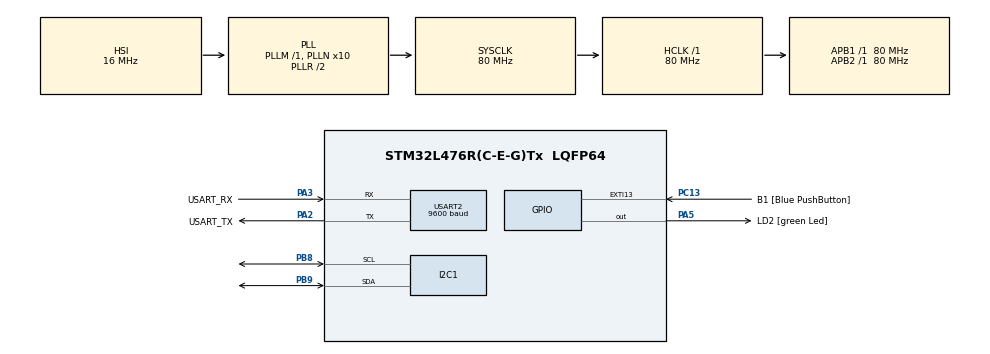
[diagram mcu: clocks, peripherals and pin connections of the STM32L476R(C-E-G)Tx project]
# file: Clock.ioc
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Mcu.Family=STM32L4
Mcu.Name=STM32L476R(C-E-G)Tx
Mcu.Package=LQFP64
NVIC.EXTI15_10_IRQn=true\:0\:0\:false\:false\:true\:true
NVIC.PriorityGroup=NVIC_PRIORITYGROUP_4
NVIC.USART2_IRQn=true\:0\:0\:false\:false\:true\:true
PA13\ (JTMS-SWDIO).GPIO_Label=TMS
PA13\ (JTMS-SWDIO).Mode=Serial_Wire
PA13\ (JTMS-SWDIO).Signal=SYS_JTMS-SWDIO
PA14\ (JTCK-SWCLK).GPIO_Label=TCK
PA14\ (JTCK-SWCLK).Mode=Serial_Wire
PA14\ (JTCK-SWCLK).Signal=SYS_JTCK-SWCLK
PA2.GPIO_Label=USART_TX
PA2.GPIO_Mode=GPIO_MODE_AF_PP
PA2.GPIO_PuPd=GPIO_NOPULL
PA2.GPIO_Speed=GPIO_SPEED_FREQ_VERY_HIGH
PA2.Mode=Asynchronous
PA2.Signal=USART2_TX
PA3.GPIO_Label=USART_RX
PA3.GPIO_Mode=GPIO_MODE_AF_PP
PA3.GPIO_PuPd=GPIO_NOPULL
PA3.GPIO_Speed=GPIO_SPEED_FREQ_VERY_HIGH
PA3.Mode=Asynchronous
PA3.Signal=USART2_RX
PA5.GPIO_Label=LD2 [green Led]
PA5.GPIO_ModeDefaultOutputPP=GPIO_MODE_OUTPUT_PP
PA5.GPIO_PuPd=GPIO_NOPULL
PA5.GPIO_Speed=GPIO_SPEED_FREQ_LOW
PA5.Signal=GPIO_Output
PB3\ (JTDO-TRACESWO).GPIO_Label=SWO
PB3\ (JTDO-TRACESWO).Signal=SYS_JTDO-SWO
PB8.Mode=I2C
PB8.Signal=I2C1_SCL
PB9.Mode=I2C
PB9.Signal=I2C1_SDA
PC13.GPIO_Label=B1 [Blue PushButton]
PC13.GPIO_ModeDefaultEXTI=GPIO_MODE_IT_FALLING
PC13.GPIO_PuPd=GPIO_NOPULL
PC13.Signal=GPXTI13
PC14-OSC32_IN\ (PC14).Mode=LSE-External-Oscillator
PC14-OSC32_IN\ (PC14).Signal=RCC_OSC32_IN
PC15-OSC32_OUT\ (PC15).Mode=LSE-External-Oscillator
PC15-OSC32_OUT\ (PC15).Signal=RCC_OSC32_OUT
PH0-OSC_IN\ (PH0).Signal=RCC_OSC_IN
PH1-OSC_OUT\ (PH1).Signal=RCC_OSC_OUT
ProjectManager.HeapSize=0x200
ProjectManager.StackSize=0x400
ProjectManager.TargetToolchain=TrueSTUDIO
RCC.ADCFreq_Value=64000000
RCC.AHBFreq_Value=80000000
RCC.APB1Freq_Value=80000000
RCC.APB1TimFreq_Value=80000000
RCC.APB2Freq_Value=80000000
RCC.APB2TimFreq_Value=80000000
RCC.CortexFreq_Value=80000000
RCC.HCLKFreq_Value=80000000
RCC.HSE_VALUE=8000000
RCC.HSI_VALUE=16000000
RCC.MSI_VALUE=4000000
RCC.PLLN=10
RCC.PLLSourceVirtual=RCC_PLLSOURCE_HSI
RCC.PREFETCH_ENABLE=1
RCC.SYSCLKFreq_VALUE=80000000
RCC.SYSCLKSource=RCC_SYSCLKSOURCE_PLLCLK
RCC.USBFreq_Value=64000000
RCC.VCOOutputFreq_Value=160000000
USART2.BaudRate=9600
USART2.VirtualMode-Asynchronous=VM_ASYNC
USART2.WordLength=WORDLENGTH_8B
VP_RTC_VS_RTC_Activate.Mode=RTC_Enabled
VP_RTC_VS_RTC_Calendar.Mode=RTC_Calendar
board=NUCLEO-L476RG

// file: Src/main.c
/**
  ******************************************************************************
  * @file           : main.c
  * @brief          : Main program body
  ******************************************************************************
  ** This notice applies to any and all portions of this file
  * that are not between comment pairs USER CODE BEGIN and
  * USER CODE END. Other portions of this file, whether
  * inserted by the user or by software development tools
  * are owned by their respective copyright owners.
  *
  * COPYRIGHT(c) 2018 STMicroelectronics
  *
  * Redistribution and use in source and binary forms, with or without modification,
  * are permitted provided that the following conditions are met:
  *   1. Redistributions of source code must retain the above copyright notice,
  *      this list of conditions and the following disclaimer.
  *   2. Redistributions in binary form must reproduce the above copyright notice,
  *      this list of conditions and the following disclaimer in the documentation
  *      and/or other materials provided with the distribution.
  *   3. Neither the name of STMicroelectronics nor the names of its contributors
  *      may be used to endorse or promote products derived from this software
  *      without specific prior written permission.
  *
  * THIS SOFTWARE IS PROVIDED BY THE COPYRIGHT HOLDERS AND CONTRIBUTORS "AS IS"
  * AND ANY EXPRESS OR IMPLIED WARRANTIES, INCLUDING, BUT NOT LIMITED TO, THE
  * IMPLIED WARRANTIES OF MERCHANTABILITY AND FITNESS FOR A PARTICULAR PURPOSE ARE
  * DISCLAIMED. IN NO EVENT SHALL THE COPYRIGHT HOLDER OR CONTRIBUTORS BE LIABLE
  * FOR ANY DIRECT, INDIRECT, INCIDENTAL, SPECIAL, EXEMPLARY, OR CONSEQUENTIAL
  * DAMAGES (INCLUDING, BUT NOT LIMITED TO, PROCUREMENT OF SUBSTITUTE GOODS OR
  * SERVICES; LOSS OF USE, DATA, OR PROFITS; OR BUSINESS INTERRUPTION) HOWEVER
  * CAUSED AND ON ANY THEORY OF LIABILITY, WHETHER IN CONTRACT, STRICT LIABILITY,
  * OR TORT (INCLUDING NEGLIGENCE OR OTHERWISE) ARISING IN ANY WAY OUT OF THE USE
  * OF THIS SOFTWARE, EVEN IF ADVISED OF THE POSSIBILITY OF SUCH DAMAGE.
  *
  ******************************************************************************
  */
#include "main.h"
#include "stm32l4xx_hal.h"

/* USER CODE BEGIN Includes */
#include <string.h>
#include <stdbool.h>
#include "lcd.h"

/* USER CODE END Includes */

I2C_HandleTypeDef hi2c1;

RTC_HandleTypeDef hrtc;

UART_HandleTypeDef huart2;

/* USER CODE BEGIN PV */
/* Private variables ---------------------------------------------------------*/
uint8_t rxbuf[1];

typedef struct {
  char date[10];
  char time[8];
  char weekday[3];
} current_datetime;

/* USER CODE END PV */

void SystemClock_Config(void);
static void MX_GPIO_Init(void);
static void MX_USART2_UART_Init(void);
static void MX_I2C1_Init(void);
static void MX_RTC_Init(void);

/* USER CODE BEGIN PFP */
/* Private function prototypes -----------------------------------------------*/

/* USER CODE END PFP */

/* USER CODE BEGIN 0 */

void get_current_datetime(current_datetime *dt, bool add_seconds) {
  RTC_DateTypeDef sDate;
  RTC_TimeTypeDef sTime;

  HAL_RTC_GetTime(&hrtc, &sTime, FORMAT_BIN);  // RTC Time
  HAL_RTC_GetDate(&hrtc, &sDate, FORMAT_BIN);  // RTC Date

  sprintf(dt->date, "20%02d/%02d/%02d", sDate.Year, sDate.Month, sDate.Date);
  if (add_seconds) {
    sprintf(dt->time, "%02d:%02d:%02d", sTime.Hours, sTime.Minutes,
        sTime.Seconds);
  } else {
    sprintf(dt->time, "%02d:%02d", sTime.Hours, sTime.Minutes);
  }

  switch (sDate.WeekDay) {
  case RTC_WEEKDAY_MONDAY:
    strcpy(dt->weekday, "MON");
    break;
  case RTC_WEEKDAY_TUESDAY:
    strcpy(dt->weekday, "TUE");
    break;
  case RTC_WEEKDAY_WEDNESDAY:
    strcpy(dt->weekday, "WED");
    break;
  case RTC_WEEKDAY_THURSDAY:
    strcpy(dt->weekday, "THU");
    break;
  case RTC_WEEKDAY_FRIDAY:
    strcpy(dt->weekday, "FRI");
    break;
  case RTC_WEEKDAY_SATURDAY:
    strcpy(dt->weekday, "SAT");
    break;
  case RTC_WEEKDAY_SUNDAY:
    strcpy(dt->weekday, "SUN");
    break;
  }
}

/* USER CODE END 0 */

int main(void)
{
  /* USER CODE BEGIN 1 */
  current_datetime cd;

  /* USER CODE END 1 */

  /* MCU Configuration----------------------------------------------------------*/

  /* Reset of all peripherals, Initializes the Flash interface and the Systick. */
  HAL_Init();

  /* Configure the system clock */
  SystemClock_Config();

  /* Initialize all configured peripherals */
  MX_GPIO_Init();
  MX_USART2_UART_Init();
  MX_I2C1_Init();
  MX_RTC_Init();
  /* USER CODE BEGIN 2 */
  HAL_UART_Receive_IT(&huart2, rxbuf, 1);

  lcd_init(&hi2c1);
  lcd_test();
  /* USER CODE END 2 */

  /* Infinite loop */
  /* USER CODE BEGIN WHILE */
  while (1) {
    get_current_datetime(&cd, false);
    lcd_clear();
    lcd_string((uint8_t *)cd.date, sizeof(cd.date));
    lcd_move_right();
    lcd_string((uint8_t *)cd.weekday, sizeof(cd.weekday));
    lcd_newline();
    lcd_string((uint8_t *)cd.time, sizeof(cd.time));
    HAL_GPIO_TogglePin(GPIOA, GPIO_PIN_5);  // LD2
    HAL_Delay(30000); // 30 sec

  /* USER CODE END WHILE */

  }

}

void SystemClock_Config(void)
{

  RCC_OscInitTypeDef RCC_OscInitStruct;
  RCC_ClkInitTypeDef RCC_ClkInitStruct;
  RCC_PeriphCLKInitTypeDef PeriphClkInit;

    /**Initializes the CPU, AHB and APB busses clocks
    */
  RCC_OscInitStruct.OscillatorType = RCC_OSCILLATORTYPE_HSI|RCC_OSCILLATORTYPE_LSI;
  RCC_OscInitStruct.HSIState = RCC_HSI_ON;
  RCC_OscInitStruct.HSICalibrationValue = 16;
  RCC_OscInitStruct.LSIState = RCC_LSI_ON;
  RCC_OscInitStruct.PLL.PLLState = RCC_PLL_ON;
  RCC_OscInitStruct.PLL.PLLSource = RCC_PLLSOURCE_HSI;
  RCC_OscInitStruct.PLL.PLLM = 1;
  RCC_OscInitStruct.PLL.PLLN = 10;
  RCC_OscInitStruct.PLL.PLLP = RCC_PLLP_DIV7;
  RCC_OscInitStruct.PLL.PLLQ = RCC_PLLQ_DIV2;
  RCC_OscInitStruct.PLL.PLLR = RCC_PLLR_DIV2;
  if (HAL_RCC_OscConfig(&RCC_OscInitStruct) != HAL_OK)
  {
    _Error_Handler(__FILE__, __LINE__);
  }

    /**Initializes the CPU, AHB and APB busses clocks
    */
  RCC_ClkInitStruct.ClockType = RCC_CLOCKTYPE_HCLK|RCC_CLOCKTYPE_SYSCLK
                              |RCC_CLOCKTYPE_PCLK1|RCC_CLOCKTYPE_PCLK2;
  RCC_ClkInitStruct.SYSCLKSource = RCC_SYSCLKSOURCE_PLLCLK;
  RCC_ClkInitStruct.AHBCLKDivider = RCC_SYSCLK_DIV1;
  RCC_ClkInitStruct.APB1CLKDivider = RCC_HCLK_DIV1;
  RCC_ClkInitStruct.APB2CLKDivider = RCC_HCLK_DIV1;

  if (HAL_RCC_ClockConfig(&RCC_ClkInitStruct, FLASH_LATENCY_4) != HAL_OK)
  {
    _Error_Handler(__FILE__, __LINE__);
  }

  PeriphClkInit.PeriphClockSelection = RCC_PERIPHCLK_RTC|RCC_PERIPHCLK_USART2
                              |RCC_PERIPHCLK_I2C1;
  PeriphClkInit.Usart2ClockSelection = RCC_USART2CLKSOURCE_PCLK1;
  PeriphClkInit.I2c1ClockSelection = RCC_I2C1CLKSOURCE_PCLK1;
  PeriphClkInit.RTCClockSelection = RCC_RTCCLKSOURCE_LSI;
  if (HAL_RCCEx_PeriphCLKConfig(&PeriphClkInit) != HAL_OK)
  {
    _Error_Handler(__FILE__, __LINE__);
  }

    /**Configure the main internal regulator output voltage
    */
  if (HAL_PWREx_ControlVoltageScaling(PWR_REGULATOR_VOLTAGE_SCALE1) != HAL_OK)
  {
    _Error_Handler(__FILE__, __LINE__);
  }

    /**Configure the Systick interrupt time
    */
  HAL_SYSTICK_Config(HAL_RCC_GetHCLKFreq()/1000);

    /**Configure the Systick
    */
  HAL_SYSTICK_CLKSourceConfig(SYSTICK_CLKSOURCE_HCLK);

  /* SysTick_IRQn interrupt configuration */
  HAL_NVIC_SetPriority(SysTick_IRQn, 0, 0);
}

/* I2C1 init function */
static void MX_I2C1_Init(void)
{

  hi2c1.Instance = I2C1;
  hi2c1.Init.Timing = 0x10909CEC;
  hi2c1.Init.OwnAddress1 = 0;
  hi2c1.Init.AddressingMode = I2C_ADDRESSINGMODE_7BIT;
  hi2c1.Init.DualAddressMode = I2C_DUALADDRESS_DISABLE;
  hi2c1.Init.OwnAddress2 = 0;
  hi2c1.Init.OwnAddress2Masks = I2C_OA2_NOMASK;
  hi2c1.Init.GeneralCallMode = I2C_GENERALCALL_DISABLE;
  hi2c1.Init.NoStretchMode = I2C_NOSTRETCH_DISABLE;
  if (HAL_I2C_Init(&hi2c1) != HAL_OK)
  {
    _Error_Handler(__FILE__, __LINE__);
  }

    /**Configure Analogue filter
    */
  if (HAL_I2CEx_ConfigAnalogFilter(&hi2c1, I2C_ANALOGFILTER_ENABLE) != HAL_OK)
  {
    _Error_Handler(__FILE__, __LINE__);
  }

    /**Configure Digital filter
    */
  if (HAL_I2CEx_ConfigDigitalFilter(&hi2c1, 0) != HAL_OK)
  {
    _Error_Handler(__FILE__, __LINE__);
  }

}

/* RTC init function */
static void MX_RTC_Init(void)
{

  RTC_TimeTypeDef sTime;
  RTC_DateTypeDef sDate;

    /**Initialize RTC Only
    */
  hrtc.Instance = RTC;
if(HAL_RTCEx_BKUPRead(&hrtc, RTC_BKP_DR0) != 0x32F2){
  hrtc.Init.HourFormat = RTC_HOURFORMAT_24;
  hrtc.Init.AsynchPrediv = 127;
  hrtc.Init.SynchPrediv = 255;
  hrtc.Init.OutPut = RTC_OUTPUT_DISABLE;
  hrtc.Init.OutPutRemap = RTC_OUTPUT_REMAP_NONE;
  hrtc.Init.OutPutPolarity = RTC_OUTPUT_POLARITY_HIGH;
  hrtc.Init.OutPutType = RTC_OUTPUT_TYPE_OPENDRAIN;
  if (HAL_RTC_Init(&hrtc) != HAL_OK)
  {
    _Error_Handler(__FILE__, __LINE__);
  }

    /**Initialize RTC and set the Time and Date
    */
  sTime.Hours = 0x0;
  sTime.Minutes = 0x0;
  sTime.Seconds = 0x0;
  sTime.DayLightSaving = RTC_DAYLIGHTSAVING_NONE;
  sTime.StoreOperation = RTC_STOREOPERATION_RESET;
  if (HAL_RTC_SetTime(&hrtc, &sTime, RTC_FORMAT_BCD) != HAL_OK)
  {
    _Error_Handler(__FILE__, __LINE__);
  }

  sDate.WeekDay = RTC_WEEKDAY_MONDAY;
  sDate.Month = RTC_MONTH_JANUARY;
  sDate.Date = 0x1;
  sDate.Year = 0x0;

  if (HAL_RTC_SetDate(&hrtc, &sDate, RTC_FORMAT_BCD) != HAL_OK)
  {
    _Error_Handler(__FILE__, __LINE__);
  }

    HAL_RTCEx_BKUPWrite(&hrtc,RTC_BKP_DR0,0x32F2);
  }

}

/* USART2 init function */
static void MX_USART2_UART_Init(void)
{

  huart2.Instance = USART2;
  huart2.Init.BaudRate = 9600;
  huart2.Init.WordLength = UART_WORDLENGTH_8B;
  huart2.Init.StopBits = UART_STOPBITS_1;
  huart2.Init.Parity = UART_PARITY_NONE;
  huart2.Init.Mode = UART_MODE_TX_RX;
  huart2.Init.HwFlowCtl = UART_HWCONTROL_NONE;
  huart2.Init.OverSampling = UART_OVERSAMPLING_16;
  huart2.Init.OneBitSampling = UART_ONE_BIT_SAMPLE_DISABLE;
  huart2.AdvancedInit.AdvFeatureInit = UART_ADVFEATURE_NO_INIT;
  if (HAL_UART_Init(&huart2) != HAL_OK)
  {
    _Error_Handler(__FILE__, __LINE__);
  }

}

/** Configure pins as
        * Analog
        * Input
        * Output
        * EVENT_OUT
        * EXTI
*/
static void MX_GPIO_Init(void)
{

  GPIO_InitTypeDef GPIO_InitStruct;

  /* GPIO Ports Clock Enable */
  __HAL_RCC_GPIOC_CLK_ENABLE();
  __HAL_RCC_GPIOH_CLK_ENABLE();
  __HAL_RCC_GPIOA_CLK_ENABLE();
  __HAL_RCC_GPIOB_CLK_ENABLE();

  /*Configure GPIO pin Output Level */
  HAL_GPIO_WritePin(LD2_GPIO_Port, LD2_Pin, GPIO_PIN_RESET);

  /*Configure GPIO pin : B1_Pin */
  GPIO_InitStruct.Pin = B1_Pin;
  GPIO_InitStruct.Mode = GPIO_MODE_IT_FALLING;
  GPIO_InitStruct.Pull = GPIO_NOPULL;
  HAL_GPIO_Init(B1_GPIO_Port, &GPIO_InitStruct);

  /*Configure GPIO pin : LD2_Pin */
  GPIO_InitStruct.Pin = LD2_Pin;
  GPIO_InitStruct.Mode = GPIO_MODE_OUTPUT_PP;
  GPIO_InitStruct.Pull = GPIO_NOPULL;
  GPIO_InitStruct.Speed = GPIO_SPEED_FREQ_LOW;
  HAL_GPIO_Init(LD2_GPIO_Port, &GPIO_InitStruct);

  /* EXTI interrupt init*/
  HAL_NVIC_SetPriority(EXTI15_10_IRQn, 0, 0);
  HAL_NVIC_EnableIRQ(EXTI15_10_IRQn);

}

/* USER CODE BEGIN 4 */
void HAL_GPIO_EXTI_Callback(uint16_t GPIO_Pin) {

  current_datetime cd;

  char newline[] = { '\n' };

  if (GPIO_Pin == GPIO_PIN_13) {  // User button (blue tactile switch)
    HAL_GPIO_TogglePin(GPIOA, GPIO_PIN_5);  // LD2

    get_current_datetime(&cd, true);

    HAL_UART_Transmit(&huart2, (uint8_t *) cd.date, sizeof(cd.date), 100); // RTC date
    HAL_UART_Transmit(&huart2, (uint8_t *) newline, 1, 100);  // new line
    HAL_UART_Transmit(&huart2, (uint8_t *) cd.time, sizeof(cd.time), 100); // RTC time
    HAL_UART_Transmit(&huart2, (uint8_t *) newline, 1, 100);  // new line
    HAL_UART_Transmit(&huart2, (uint8_t *) cd.weekday, sizeof(cd.weekday), 100); // RTC weekday
    HAL_UART_Transmit(&huart2, (uint8_t *) newline, 1, 100);  // new line
  }
}

void HAL_UART_RxCpltCallback(UART_HandleTypeDef *huart) {
  static char cmd_buf[32];
  static uint8_t cnt = 0;
  int year, month, date, hours, minutes, weekday;
  RTC_TimeTypeDef sTime;
  RTC_DateTypeDef sDate;

  HAL_GPIO_TogglePin(GPIOA, GPIO_PIN_5);
  cmd_buf[cnt++] = rxbuf[0];
  if (rxbuf[0] == '\n') {
    //HAL_UART_Transmit(&huart2, (uint8_t *)cmd_buf, cnt, 1000);
    cmd_buf[cnt] = '\0';
    sscanf((char *) cmd_buf, "%d %d %d %d %d %d", &year, &month, &date, &hours,
        &minutes, &weekday);
    cnt = 0;

    /* Initialize RTC and set the Time and Date */
    sTime.Hours = hours;
    sTime.Minutes = minutes;
    sTime.Seconds = 0;
    sTime.DayLightSaving = RTC_DAYLIGHTSAVING_NONE;
    sTime.StoreOperation = RTC_STOREOPERATION_RESET;
    if (HAL_RTC_SetTime(&hrtc, &sTime, RTC_FORMAT_BIN) != HAL_OK) {
      Error_Handler();
    }

    sDate.WeekDay = weekday;
    sDate.Month = month;
    sDate.Date = date;
    sDate.Year = year;

    if (HAL_RTC_SetDate(&hrtc, &sDate, RTC_FORMAT_BIN) != HAL_OK) {
      Error_Handler();
    }

    HAL_RTCEx_BKUPWrite(&hrtc, RTC_BKP_DR0, 0x32F2);

  }
  HAL_UART_Receive_IT(&huart2, rxbuf, 1);
}

/* USER CODE END 4 */

void _Error_Handler(char *file, int line)
{
  while (1) {
  }
}

/************************ (C) COPYRIGHT STMicroelectronics *****END OF FILE****/
